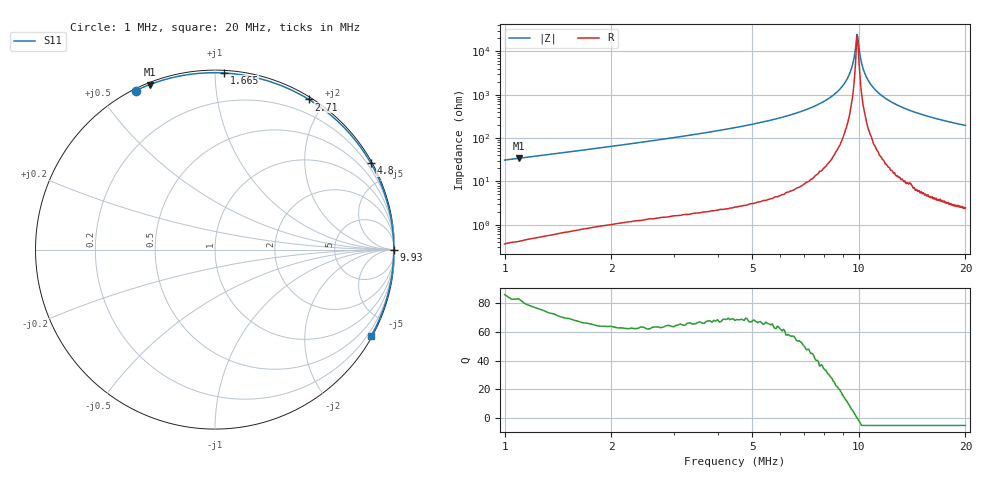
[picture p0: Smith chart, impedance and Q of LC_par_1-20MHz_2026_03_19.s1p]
# HZ S RI R 50
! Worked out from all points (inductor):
!   401 points, 1 MHz to 20 MHz, reference 50 ohm
!   read as one part to ground: L = 4.88 uH near 1.095 MHz
!   highest Q = 82.5 at 1.095 MHz (marker M1), where L = 4.94 uH
!   self-resonance near 9.883 MHz
!   S11 on the Smith chart (normalised r, x): 1 MHz: 0.01, +0.62; 1.665 MHz: 0.02, +1.05; 2.71 MHz: 0.03, +1.80; 4.8 MHz: 0.06, +3.87; 9.93 MHz: open; 20 MHz: 0.05, -3.89
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1000000  -0.4415 0.8857
1047500  -0.4026 0.9033
1095000  -0.3644 0.9193
1237500  -0.2521 0.9547
1380000  -0.1447 0.9758
1522500  -0.0442 0.9847
1665000  0.0493 0.9838
1902500  0.1878 0.9667
2140000  0.3066 0.936
2425000  0.4254 0.8893
2710000  0.5229 0.8368
3042500  0.614 0.7739
3375000  0.6868 0.7118
3707500  0.7447 0.6526
4040000  0.7916 0.5962
4372500  0.8298 0.5437
4800000  0.8688 0.481
5227500  0.8989 0.4234
5750000  0.9272 0.3592
6890000  0.9665 0.2384
8125000  0.9875 0.1296
9027500  0.9943 0.0605
9930000  0.9959 -0.00196
1.05e7  0.9955 -0.0384
1.2875e7  0.9808 -0.1735
1.525e7  0.9529 -0.2881
1.7625e7  0.9155 -0.3889
2e7  0.871 -0.4788
